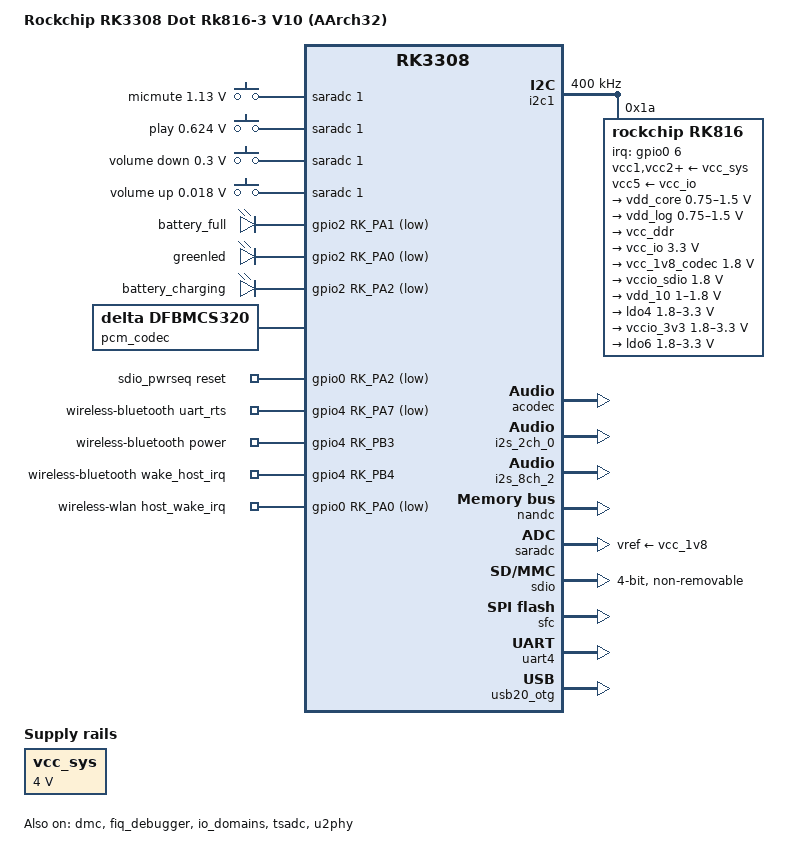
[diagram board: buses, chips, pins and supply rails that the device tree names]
// SPDX-License-Identifier: (GPL-2.0+ OR MIT)
/*
 * Copyright (c) 2018 Fuzhou Rockchip Electronics Co., Ltd
 */

/dts-v1/;

#include <dt-bindings/input/input.h>
#include "arm64/rockchip/rk3308.dtsi"

/ {
	model = "Rockchip RK3308 Dot Rk816-3 V10 (AArch32)";
	compatible = "rockchip,rk3308-dot-rk816-v10-aarch32", "rockchip,rk3308";

	chosen {
		bootargs = "earlycon=uart8250,mmio32,0xff0c0000 console=ttyFIQ0 root=PARTUUID=614e0000-0000 rootfstype=squashfs rootwait snd_aloop.index=7 snd_aloop.use_raw_jiffies=1";
	};

	acodec_sound: acodec-sound {
		compatible = "rockchip,multicodecs-card";
		rockchip,card-name = "rockchip,rk3308-acodec";
		rockchip,codec-hp-det;
		rockchip,mclk-fs = <256>;
		rockchip,cpu = <&i2s_8ch_2>;
		rockchip,codec = <&acodec>;
		status = "okay";
	};

	adc-keys {
		compatible = "adc-keys";
		io-channels = <&saradc 1>;
		io-channel-names = "buttons";
		poll-interval = <100>;
		keyup-threshold-microvolt = <1800000>;

		esc-key {
			linux,code = <KEY_MICMUTE>;
			label = "micmute";
			press-threshold-microvolt = <1130000>;
		};

		menu-key {
			linux,code = <KEY_PLAY>;
			label = "play";
			press-threshold-microvolt = <624000>;
		};

		vol-down-key {
			linux,code = <KEY_VOLUMEDOWN>;
			label = "volume down";
			press-threshold-microvolt = <300000>;
		};

		vol-up-key {
			linux,code = <KEY_VOLUMEUP>;
			label = "volume up";
			press-threshold-microvolt = <18000>;
		};
	};

	charge-animation {
		compatible = "rockchip,uboot-charge";
		rockchip,uboot-charge-on = <1>;
		rockchip,uboot-low-power-voltage = <3500>;
		status = "okay";
	};

	dummy_codec: dummy-codec {
		compatible = "rockchip,dummy-codec";
		#sound-dai-cells = <0>;
	};

	leds {
		status = "okay";
		compatible = "gpio-leds";

		blue-led {
			gpios = <&gpio2 RK_PA1 GPIO_ACTIVE_LOW>;
			label = "battery_full";
			default-state = "off";
			linux,default-trigger = "battery-full";
		};

		green-led {
			gpios = <&gpio2 RK_PA0 GPIO_ACTIVE_LOW>;
			label = "greenled";
			default-state = "off";
			linux,default-trigger = "default-off";
		};

		red-led {
			gpios = <&gpio2 RK_PA2 GPIO_ACTIVE_LOW>;
			label = "battery_charging";
			default-state = "off";
			linux,default-trigger = "battery-charging";
		};
	};

	pcm_codec: pcm-codec {
		compatible = "delta,dfbmcs320";
		#sound-dai-cells = <0>;
	};

	sdio_pwrseq: sdio-pwrseq {
		compatible = "mmc-pwrseq-simple";
		pinctrl-names = "default";
		pinctrl-0 = <&wifi_enable_h>;

		/*
		 * On the module itself this is one of these (depending
		 * on the actual card populated):
		 * - SDIO_RESET_L_WL_REG_ON
		 * - PDN (power down when low)
		 */
		reset-gpios = <&gpio0 RK_PA2 GPIO_ACTIVE_LOW>;
	};

	sound_pcm {
		compatible = "simple-audio-card";
		simple-audio-card,format = "dsp_b";
		simple-audio-card,name = "rockchip,rk3308-pcm";
		simple-audio-card,mclk-fs = <256>;
		simple-audio-card,cpu {
			sound-dai = <&i2s_2ch_0>;
		};
		simple-audio-card,codec {
			sound-dai = <&pcm_codec>;
		};
	};

	vad-sound {
		status = "disabled";
		compatible = "rockchip,multicodecs-card";
		rockchip,card-name = "rockchip,rk3308-vad";
		rockchip,codec-hp-det;
		rockchip,cpu = <&i2s_8ch_2>;
		rockchip,codec = <&acodec>, <&vad>;
	};

	vcc_sys: vcc-sys {
		compatible = "regulator-fixed";
		regulator-name = "vcc_sys";
		regulator-min-microvolt = <4000000>;
		regulator-max-microvolt = <4000000>;
		regulator-always-on;
	};

	wireless-bluetooth {
		compatible = "bluetooth-platdata";
		uart_rts_gpios = <&gpio4 RK_PA7 GPIO_ACTIVE_LOW>;
		pinctrl-names = "default", "rts_gpio";
		pinctrl-0 = <&uart4_rts>;
		pinctrl-1 = <&uart4_rts_gpio>;
		BT,power_gpio    = <&gpio4 RK_PB3 GPIO_ACTIVE_HIGH>;
		BT,wake_host_irq = <&gpio4 RK_PB4 GPIO_ACTIVE_HIGH>;
		status = "okay";
	};

	wireless-wlan {
		compatible = "wlan-platdata";
		rockchip,grf = <&grf>;
		clocks = <&cru SCLK_WIFI>;
		clock-names = "clk_wifi";
		ref-clock-frequency = <24000000>;
		pinctrl-names = "default";
		pinctrl-0 = <&wifi_wake_host>, <&rtc_32k>;
		wifi_chip_type = "rtl8723ds";
		WIFI,host_wake_irq = <&gpio0 RK_PA0 GPIO_ACTIVE_LOW>;
		status = "okay";
	};
};

&i2c1 {
	status = "okay";
	clock-frequency = <400000>;

	rk816: pmic@1a {
		status = "okay";
		compatible = "rockchip,rk816";
		reg = <0x1a>;
		interrupt-parent = <&gpio0>;
		interrupts = <6 IRQ_TYPE_LEVEL_LOW>;
		pinctrl-names = "default";
		pinctrl-0 = <&pmic_int_l>;
		rockchip,system-power-controller;
		wakeup-source;
		gpio-controller;
		#gpio-cells = <2>;
		#clock-cells = <1>;
		clock-output-names = "rk816-clkout1", "rk816-clkout2";
		extcon = <&u2phy>;

		vcc1-supply = <&vcc_sys>;
		vcc2-supply = <&vcc_sys>;
		vcc3-supply = <&vcc_sys>;
		vcc4-supply = <&vcc_sys>;
		vcc5-supply = <&vcc_io>;
		vcc6-supply = <&vcc_sys>;

		pwrkey {
			status = "okay";
		};

		gpio {
			status = "okay";
		};

		rtc {
			status = "okay";
		};

		battery {
			compatible = "rk816-battery";
			ocv_table = <3400 3625 3685 3697 3718 3735 3748
				     3760 3774 3788 3802 3816 3834 3853
				     3877 3908 3946 3975 4018 4071 4106>;
			design_capacity = <2750>;
			design_qmax = <3000>;
			bat_res = <110>;
			max_input_current = <2000>;
			max_chrg_current = <1800>;
			max_chrg_voltage = <4200>;
			sleep_enter_current = <300>;
			sleep_exit_current = <300>;
			sleep_filter_current = <100>;
			power_off_thresd = <3400>;
			zero_algorithm_vol = <3850>;
			max_soc_offset = <80>;
			monitor_sec = <5>;
			virtual_power = <0>;
			power_dc2otg = <0>;
			dc_det_adc = <0>;
		};

		regulators {
			vdd_core: DCDC_REG1{
				regulator-name = "vdd_core";
				regulator-min-microvolt = <750000>;
				regulator-max-microvolt = <1500000>;
				regulator-ramp-delay = <6001>;
				regulator-initial-mode = <1>;
				regulator-always-on;
				regulator-boot-on;
				regulator-state-mem {
					regulator-off-in-suspend;
				};
			};

			vdd_log: DCDC_REG2 {
				regulator-name = "vdd_logic";
				regulator-min-microvolt = <750000>;
				regulator-max-microvolt = <1500000>;
				regulator-ramp-delay = <6001>;
				regulator-initial-mode = <1>;
				regulator-always-on;
				regulator-boot-on;
				regulator-state-mem {
					regulator-on-in-suspend;
					regulator-suspend-microvolt = <1000000>;
				};
			};

			vcc_ddr: DCDC_REG3 {
				regulator-name = "vcc_ddr";
				regulator-always-on;
				regulator-boot-on;
			};

			vcc_io: DCDC_REG4 {
				regulator-name = "vcc_io";
				regulator-min-microvolt = <3300000>;
				regulator-max-microvolt = <3300000>;
				regulator-initial-mode = <1>;
				regulator-always-on;
				regulator-boot-on;
				regulator-state-mem {
					regulator-on-in-suspend;
					regulator-suspend-microvolt = <3000000>;
				};
			};

			vcc_1v8_codec: LDO_REG1 {
				regulator-name = "vcc_1v8_codec";
				regulator-min-microvolt = <1800000>;
				regulator-max-microvolt = <1800000>;
				regulator-always-on;
				regulator-boot-on;
				regulator-state-mem {
					regulator-on-in-suspend;
					regulator-suspend-microvolt = <1800000>;
				};
			};

			vccio_sdio: vcc_1v8: LDO_REG2 {
				regulator-name = "vcc_1v8";
				regulator-min-microvolt = <1800000>;
				regulator-max-microvolt = <1800000>;
				regulator-always-on;
				regulator-boot-on;
				regulator-state-mem {
					regulator-on-in-suspend;
					regulator-suspend-microvolt = <1800000>;
				};
			};

			vdd_10: LDO_REG3 {
				regulator-name = "vdd_10";
				regulator-min-microvolt = <1000000>;
				regulator-max-microvolt = <1800000>;
				regulator-state-mem {
					regulator-off-in-suspend;
				};
			};

			ldo4: LDO_REG4 {
				regulator-name = "ldo4";
				regulator-min-microvolt = <1800000>;
				regulator-max-microvolt = <3300000>;
				regulator-state-mem {
					regulator-off-in-suspend;
				};
			};

			vccio_3v3: LDO_REG5 {
				regulator-name = "vccio_3v3";
				regulator-min-microvolt = <1800000>;
				regulator-max-microvolt = <3300000>;
				regulator-state-mem {
					regulator-off-in-suspend;
				};
			};

			ldo6: LDO_REG6 {
				regulator-name = "ldo6";
				regulator-min-microvolt = <1800000>;
				regulator-max-microvolt = <3300000>;
				regulator-state-mem {
					regulator-off-in-suspend;
				};
			};
		};
	};
};

&acodec {
	status = "okay";
	rockchip,micbias1;
	rockchip,micbias2;
	rockchip,no-deep-low-power;
	rockchip,no-hp-det;
	rockchip,loopback-grp = <1>;
	pa-drv-gpios = <&gpio0 RK_PC0 GPIO_ACTIVE_HIGH>;
	rockchip,delay-pa-drv-ms = <5>;
	spk-ctl-gpios = <&gpio0 RK_PA5 GPIO_ACTIVE_HIGH>;
	/* ADC5-8 for 4ch capture, loopback to ADC3-4 */
	rockchip,adc-grps-route = <2 3 1 0>;
};

&cpu0 {
	cpu-supply = <&vdd_core>;
};

&cpu0_opp_table {
	opp-1200000000 {
		status = "okay";
	};
};

&dmc {
	center-supply = <&vdd_log>;
	status = "okay";
};

&fiq_debugger {
	status = "okay";
};

&i2s_2ch_0 {
	status = "okay";
	#sound-dai-cells = <0>;
};

&i2s_8ch_2 {
	status = "okay";
};

&io_domains {
	status = "okay";

	vccio0-supply = <&vcc_io>;
	vccio1-supply = <&vcc_io>;
	vccio2-supply = <&vcc_io>;
	vccio3-supply = <&vcc_io>;
	vccio4-supply = <&vccio_sdio>;
	vccio5-supply = <&vcc_io>;
};

&nandc {
	status = "okay";
};

&pinctrl {
	sdio-pwrseq {
		wifi_enable_h: wifi-enable-h {
			rockchip,pins = <0 RK_PA2 RK_FUNC_GPIO &pcfg_pull_none>;
		};
	};

	wireless-wlan {
		wifi_wake_host: wifi-wake-host {
			rockchip,pins = <0 RK_PA0 RK_FUNC_GPIO &pcfg_pull_up>;
		};
	};

	pmic {
		pmic_int_l: pmic-int-l {
			rockchip,pins =
				<0 RK_PA6 RK_FUNC_GPIO &pcfg_pull_none>;
		};
	};
};

&ramoops {
	reg = <0x0 0x30000 0x0 0x20000>;
	record-size = <0x00000>;
	console-size = <0x20000>;
};

&rockchip_suspend {
	rockchip,sleep-mode-config = <
		(0
		| RKPM_ARMOFF
		| RKPM_PMU_HW_PLLS_PD
		)
	>;

	status = "okay";
};

&saradc {
	status = "okay";
	vref-supply = <&vcc_1v8>;
};

&sdio {
	max-frequency = <110000000>;
	bus-width = <4>;
	cap-sd-highspeed;
	no-sd;
	no-mmc;
	ignore-pm-notify;
	keep-power-in-suspend;
	non-removable;
	mmc-pwrseq = <&sdio_pwrseq>;
	sd-uhs-sdr104;
	status = "okay";
};

&sfc {
	status = "okay";
};

&tsadc {
	rockchip,hw-tshut-mode = <0>; /* tshut mode 0:CRU 1:GPIO */
	rockchip,hw-tshut-polarity = <1>; /* tshut polarity 0:LOW 1:HIGH */
	status = "okay";
};

&u2phy {
	status = "okay";
	u2phy_otg: otg-port {
		status = "okay";
	};
};

&uart4 {
	pinctrl-names = "default";
	pinctrl-0 = <&uart4_xfer &uart4_cts>;
	status = "okay";
};

&usb20_otg {
	status = "okay";
};

&vad {
	status = "disabled";
	rockchip,audio-src = <&i2s_8ch_2>;
	rockchip,det-channel = <0>;
	rockchip,mode = <1>;
	rockchip,buffer-time-ms = <500>;
	#sound-dai-cells = <0>;
};
